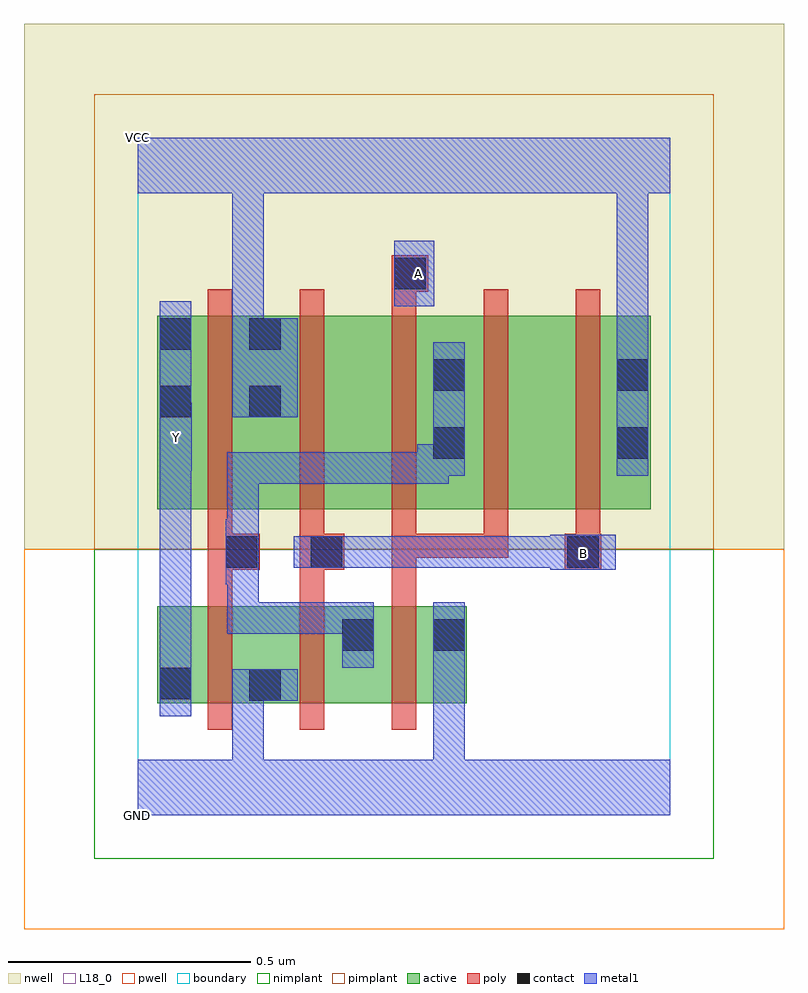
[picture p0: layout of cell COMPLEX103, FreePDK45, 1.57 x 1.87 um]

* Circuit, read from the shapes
.subckt COMPLEX103 A B GND VCC Y
M1 GND n1 Y VSUBS nfet w=0.2u l=0.05u
M2 n1 B GND VSUBS nfet w=0.2u l=0.05u
M3 GND A n1 VSUBS nfet w=0.2u l=0.05u
M4 VCC n1 Y n2 pfet w=0.4u l=0.05u
M5 n3 B VCC n2 pfet w=0.4u l=0.05u
M6 n1 A n3 n2 pfet w=0.4u l=0.05u
M7 n4 A n1 n2 pfet w=0.4u l=0.05u
M8 VCC B n4 n2 pfet w=0.4u l=0.05u
.ends

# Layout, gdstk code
import gdstk
lib = gdstk.Library(unit=1e-6, precision=1e-09)
def R(c, l, rs):  # rectangles x0, y0, x1, y1
    for r in rs: c.add(gdstk.rectangle(r[:2], r[2:], *l))
def A(c, l, x, y, w, h, nx, ny, dx, dy):  # array of equal rectangles
    R(c, l, [(x+i*dx, y+j*dy, x+i*dx+w, y+j*dy+h) for i in range(nx) for j in range(ny)])
active = (1, 0)
pwell = (2, 0)
nwell = (3, 0)
nimplant = (4, 0)
pimplant = (5, 0)
poly = (9, 0)
contact = (10, 0)
metal1 = (11, 0)
L18_0 = (18, 0)
boundary = (235, 0)

complex103 = lib.new_cell('COMPLEX103')
R(complex103, active, [(0.04,0.232,0.115,0.432), (0.04,0.232,0.3,0.432), (0.225,0.232,0.492,0.432), (0.225,0.232,0.3,0.425), (0.417,0.232,0.492,0.432), (0.417,0.232,0.68,0.432), (0.605,0.232,0.68,0.432), (0.04,0.632,0.115,1.032), (0.04,0.632,0.3,1.032), (0.225,0.632,0.455,1.032), (0.455,0.632,0.68,1.032), (0.605,0.632,0.68,1.032), (0.605,0.632,0.835,1.032), (0.835,0.632,1.06,1.032), (0.985,0.632,1.06,1.032), (0.225,0.77,0.3,1.032)])
R(complex103, pwell, [(-0.235,-0.235,1.335,0.55)])
R(complex103, nwell, [(-0.235,0.55,1.335,1.635)])
R(complex103, nimplant, [(-0.09,-0.09,1.19,0.55)])
R(complex103, pimplant, [(-0.09,0.55,1.19,1.49)])
A(complex103, poly, 0.145, 0.177, 0.05, 0.31, 3, 1, 0.19, 0)
A(complex103, poly, 0.145, 0.532, 0.05, 0.095, 5, 1, 0.19, 0)
A(complex103, poly, 0.145, 0.577, 0.05, 0.51, 5, 1, 0.19, 0)
R(complex103, poly, [(0.145,0.437,0.195,0.557), (0.335,0.437,0.385,0.557), (0.525,0.437,0.575,0.582), (0.145,0.507,0.252,0.582), (0.335,0.507,0.427,0.582), (0.882,0.507,0.957,0.582), (0.525,0.532,0.575,0.582), (0.525,0.532,0.765,0.582), (0.715,0.532,0.765,0.582), (0.715,0.532,0.765,0.582), (0.715,0.532,0.765,0.582), (0.525,1.037,0.575,1.132), (0.525,1.082,0.6,1.157)])
R(complex103, contact, [(0.23,0.237,0.295,0.302), (0.045,0.24,0.11,0.305), (0.422,0.34,0.487,0.405), (0.61,0.34,0.675,0.405), (0.182,0.512,0.247,0.577), (0.357,0.512,0.422,0.577), (0.887,0.512,0.952,0.577), (0.61,0.737,0.675,0.802), (0.99,0.737,1.055,0.802), (0.045,0.822,0.11,0.887), (0.23,0.822,0.295,0.887), (0.61,0.877,0.675,0.942), (0.99,0.877,1.055,0.942), (0.045,0.962,0.11,1.027), (0.23,0.962,0.295,1.027), (0.53,1.087,0.595,1.152)])
R(complex103, metal1, [(0,0,1.1,0.115), (0.195,0.05,0.26,0.115), (0.195,0.05,0.26,0.115), (0.195,0.05,0.26,0.115), (0.195,0.05,0.26,0.115), (0.195,0.05,0.26,0.302), (0.61,0.05,0.675,0.37), (0.045,0.205,0.11,0.34), (0.195,0.237,0.33,0.302), (0.045,0.275,0.11,0.777), (0.422,0.305,0.487,0.44), (0.61,0.305,0.675,0.37), (0.61,0.305,0.675,0.37), (0.61,0.305,0.675,0.37), (0.61,0.305,0.675,0.37), (0.61,0.305,0.675,0.44), (0.185,0.375,0.25,0.44), (0.185,0.375,0.457,0.44), (0.185,0.375,0.25,0.542), (0.392,0.375,0.457,0.44), (0.392,0.375,0.487,0.44), (0.182,0.477,0.247,0.612), (0.182,0.477,0.25,0.542), (0.185,0.477,0.25,0.542), (0.185,0.477,0.25,0.75), (0.852,0.507,0.987,0.58), (0.322,0.512,0.457,0.577), (0.392,0.512,0.457,0.577), (0.392,0.512,0.457,0.577), (0.392,0.512,0.642,0.577), (0.577,0.512,0.642,0.577), (0.577,0.512,0.78,0.577), (0.715,0.512,0.78,0.577), (0.715,0.512,0.78,0.577), (0.715,0.512,0.78,0.577), (0.715,0.512,0.917,0.577), (0.852,0.512,0.917,0.577), (0.852,0.512,0.917,0.577), (0.185,0.685,0.25,0.75), (0.185,0.685,0.387,0.75), (0.322,0.685,0.387,0.75), (0.322,0.685,0.387,0.75), (0.322,0.685,0.387,0.75), (0.322,0.685,0.642,0.75), (0.577,0.685,0.642,0.767), (0.577,0.702,0.675,0.767), (0.61,0.702,0.675,0.977), (0.99,0.702,1.055,0.977), (0.045,0.712,0.112,0.852), (0.045,0.787,0.11,0.852), (0.045,0.787,0.11,1.062), (0.195,0.822,0.33,1.027), (0.99,0.912,1.055,1.35), (0.99,0.912,1.055,0.977), (0.99,0.912,1.055,0.977), (0.195,0.962,0.26,1.35), (0.53,1.052,0.612,1.187), (0,1.285,1.1,1.4), (0.195,1.285,0.26,1.35), (0.195,1.285,0.26,1.35), (0.195,1.285,0.26,1.35), (0.195,1.285,0.26,1.35), (0.99,1.285,1.055,1.35), (0.99,1.285,1.055,1.35)])
R(complex103, L18_0, [(0,0,1.1,0.115), (0.195,0.05,0.26,0.115), (0.195,0.05,0.26,0.115), (0.195,0.05,0.26,0.115), (0.195,0.05,0.26,0.115), (0.195,0.05,0.26,0.302), (0.61,0.05,0.675,0.37), (0.045,0.205,0.11,0.34), (0.195,0.237,0.33,0.302), (0.045,0.275,0.11,0.777), (0.61,0.305,0.675,0.44), (0.61,0.305,0.675,0.37), (0.61,0.305,0.675,0.37), (0.61,0.305,0.675,0.37), (0.61,0.305,0.675,0.37), (0.852,0.507,0.987,0.58), (0.887,0.507,0.952,0.572), (0.322,0.512,0.457,0.577), (0.392,0.512,0.457,0.577), (0.392,0.512,0.457,0.577), (0.392,0.512,0.642,0.577), (0.577,0.512,0.642,0.577), (0.577,0.512,0.78,0.577), (0.715,0.512,0.78,0.577), (0.715,0.512,0.78,0.577), (0.715,0.512,0.78,0.577), (0.715,0.512,0.917,0.577), (0.852,0.512,0.917,0.577), (0.852,0.512,0.917,0.577), (0.99,0.702,1.055,0.977), (0.045,0.712,0.112,0.852), (0.047,0.747,0.112,0.812), (0.045,0.787,0.11,1.062), (0.045,0.787,0.11,0.852), (0.195,0.822,0.33,1.027), (0.99,0.912,1.055,0.977), (0.99,0.912,1.055,0.977), (0.99,0.912,1.055,1.35), (0.195,0.962,0.26,1.35), (0.53,1.052,0.612,1.187), (0.547,1.087,0.612,1.152), (0,1.285,1.1,1.4), (0.195,1.285,0.26,1.35), (0.195,1.285,0.26,1.35), (0.195,1.285,0.26,1.35), (0.195,1.285,0.26,1.35), (0.99,1.285,1.055,1.35), (0.99,1.285,1.055,1.35)])
R(complex103, boundary, [(0,0,1.1,1.4)])
complex103.add(gdstk.Label('A', (0.58,1.12), layer=11, texttype=0))
complex103.add(gdstk.Label('B', (0.92,0.54), layer=11, texttype=0))
complex103.add(gdstk.Label('Y', (0.08,0.78), layer=11, texttype=0))
complex103.add(gdstk.Label('VCC', (0,1.4), layer=11, texttype=0))
complex103.add(gdstk.Label('GND', (0,0), layer=11, texttype=0))

lib.write_gds('COMPLEX103.gds')
